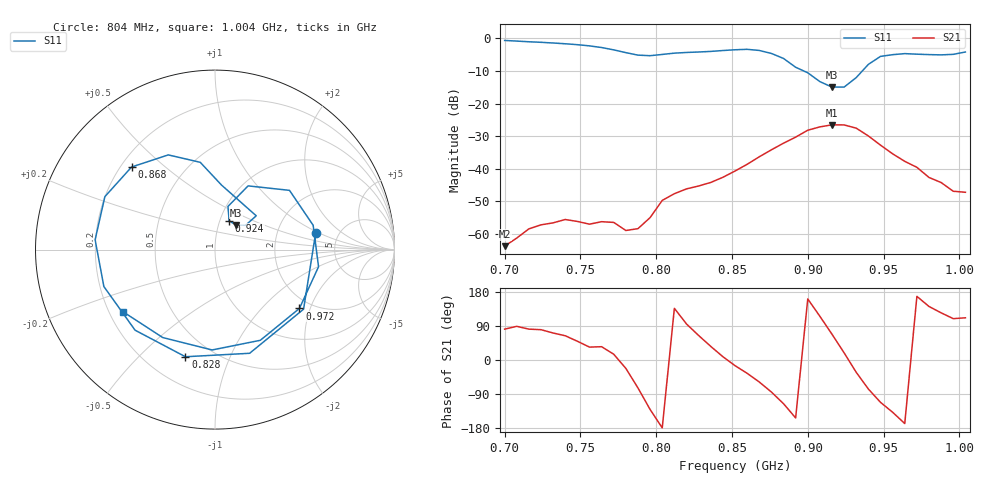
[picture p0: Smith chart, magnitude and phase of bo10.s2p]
# Hz S RI R 50
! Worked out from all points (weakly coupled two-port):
!   39 points, 700 MHz to 1.004 GHz, reference 50 ohm
!   highest |S21| = -26.51 dB at 916 MHz (marker M1); lowest = -63.7 dB at 700 MHz (marker M2)
!   lowest |S11| = -14.9 dB at 916 MHz (marker M3), VSWR 1.44, Z = 60.4 + j17.1 ohm
!   |S11| at or under -10 dB: 897.4 MHz to 936 MHz (38.52 MHz wide, 4.2 % of centre)
!   S12 and S22 are empty: the file has one direction only
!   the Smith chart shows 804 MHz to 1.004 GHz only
!   S11 on the Smith chart (normalised r, x): 804 MHz: 3.36, +0.92; 828 MHz: 0.36, -0.70; 868 MHz: 0.24, +0.39; 924 MHz: 1.11, +0.37; 972 MHz: 1.73, -1.69; 1.004 GHz: 0.26, -0.29
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7e8  0.7649 0.5308  9.72e-05 0.000643  0 0  0 0
7.24e8  0.8316 -0.2624  0.000239 0.00136  0 0  0 0
7.4e8  0.4417 -0.7003  0.000731 0.0015  0 0  0 0
7.56e8  -0.201 -0.7423  0.00117 0.000791  0 0  0 0
7.72e8  -0.6457 -0.1715  0.00145 0.000394  0 0  0 0
7.8e8  -0.5537 0.2447  0.00105 -0.000427  0 0  0 0
7.88e8  -0.1892 0.5212  0.000337 -0.00116  0 0  0 0
8.04e8  0.5606 0.0923  -0.00327 -4.86e-05  0 0  0 0
8.2e8  0.193 -0.5777  -0.000437 0.0049  0 0  0 0
8.28e8  -0.1647 -0.597  0.00233 0.00492  0 0  0 0
8.52e8  -0.6679 0.055  0.00893 -0.00237  0 0  0 0
8.68e8  -0.4649 0.4601  0.00809 -0.013  0 0  0 0
8.84e8  -0.0821 0.4862  -0.0105 -0.0223  0 0  0 0
9e8  0.2297 0.1883  -0.0369 0.0127  0 0  0 0
9.08e8  0.1704 0.1353  -0.0188 0.0397  0 0  0 0
9.16e8  0.1153 0.1372  0.0177 0.0438  0 0  0 0
9.24e8  0.0789 0.161  0.0446 0.0152  0 0  0 0
9.4e8  0.1844 0.355  0.00738 -0.031  0 0  0 0
9.56e8  0.5469 0.1355  -0.0126 -0.0114  0 0  0 0
9.72e8  0.4702 -0.3281  -0.0103 0.00221  0 0  0 0
9.88e8  -0.0161 -0.5591  -0.00348 0.00507  0 0  0 0
1.004e9  -0.514 -0.3452  -0.00159 0.00406  0 0  0 0
